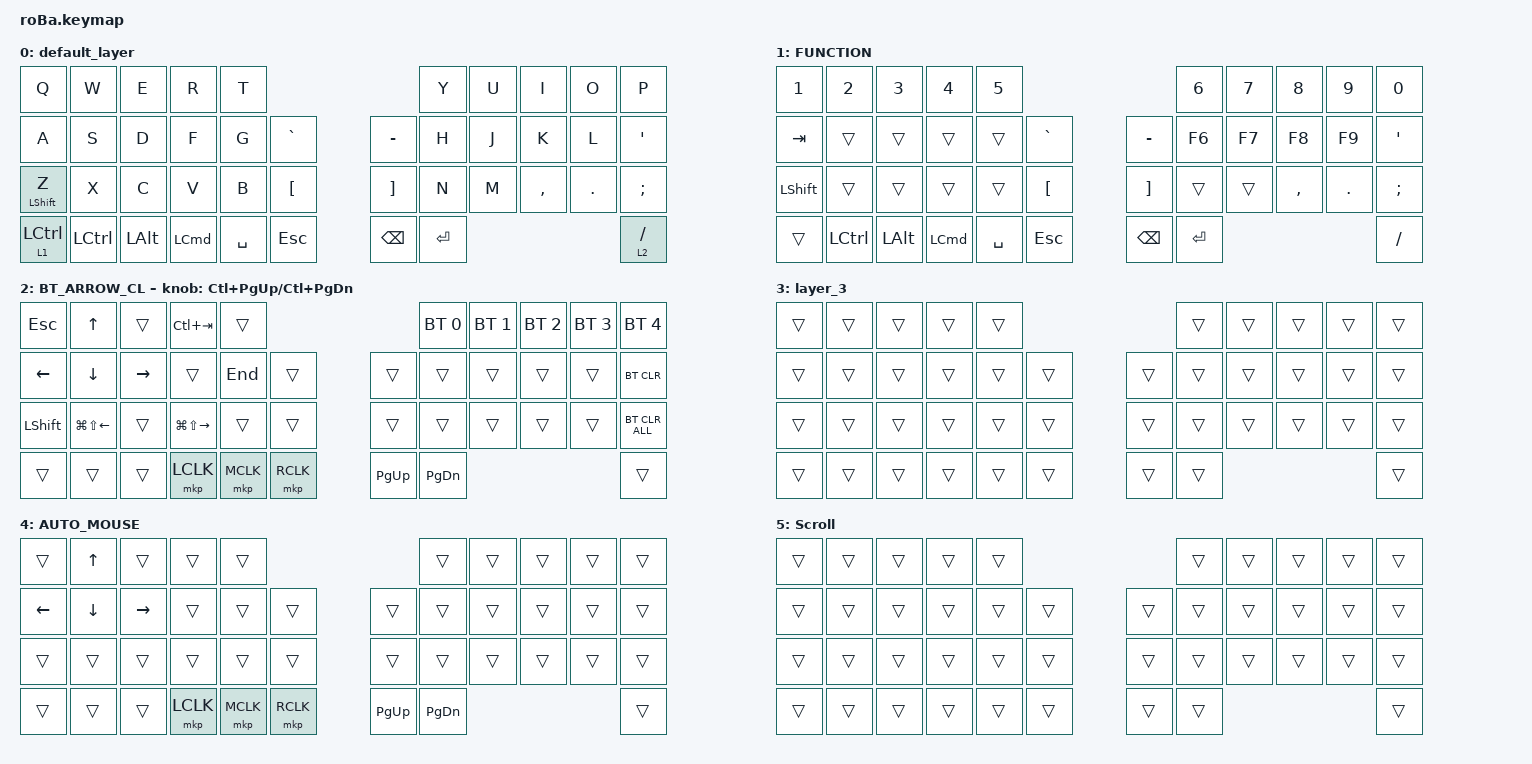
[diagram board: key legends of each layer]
#include <behaviors.dtsi>
#include <dt-bindings/zmk/bt.h>
#include <dt-bindings/zmk/keys.h>
#include <dt-bindings/zmk/pointing.h>

&mt {
    flavor = "balanced";
    quick-tap-ms = <0>;
};

/ {
    combos {
        compatible = "zmk,combos";

        tab {
            bindings = <&kp TAB>;
            key-positions = <10 11>;
        };

        shift_tab {
            bindings = <&kp LS(TAB)>;
            key-positions = <12 11>;
        };

        escape {
            bindings = <&kp LG(ESC)>;
            key-positions = <0 1>;
        };

        eq {
            bindings = <&kp EQUAL>;
            key-positions = <24 25>;
        };

        LeftClick {
            bindings = <&mkp LCLK>;
            key-positions = <38 39>;
        };

        RightClick {
            bindings = <&mkp RCLK>;
            key-positions = <40 41>;
        };
    };

    macros {
        to_layer_0: to_layer_0 {
            compatible = "zmk,behavior-macro-one-param";
            #binding-cells = <1>;
            bindings = <&to 0 &macro_param_1to1 &kp MACRO_PLACEHOLDER>;
            label = "TO_LAYER_0";
        };
    };

    behaviors {
        lt_to_layer_0: lt_to_layer_0 {
            compatible = "zmk,behavior-hold-tap";
            label = "LAYER_TAP_TO_0";
            bindings = <&mo>, <&to_layer_0>;

            #binding-cells = <2>;
            tapping-term-ms = <200>;
        };
    };

    keymap {
        compatible = "zmk,keymap";

        default_layer {
            bindings = <
&kp Q                   &kp W      &kp E         &kp R     &kp T                                               &kp Y      &kp U  &kp I      &kp O    &kp P
&kp A                   &kp S      &kp D         &kp F     &kp G      &kp GRAVE             &kp MINUS          &kp H      &kp J  &kp K      &kp L    &kp SQT
&mt LEFT_SHIFT Z        &kp X      &kp C         &kp V     &kp B      &kp LEFT_BRACKET      &kp RIGHT_BRACKET  &kp N      &kp M  &kp COMMA  &kp DOT  &kp SEMICOLON
&lt_to_layer_0 1 LCTRL  &kp LCTRL  &kp LEFT_ALT  &kp LCMD  &kp SPACE  &kp ESC               &kp BACKSPACE      &kp ENTER                             &lt 2 SLASH
            >;
        };

        FUNCTION {
            bindings = <
&kp N1          &kp N2     &kp N3        &kp N4    &kp N5                                   &kp N6      &kp N7  &kp N8     &kp N9      &kp N0
&kp TAB         &trans     &trans        &trans    &trans     &kp GRAVE      &kp MINUS      &kp F6      &kp F7  &kp F8     &kp F9      &kp SINGLE_QUOTE
&kp LEFT_SHIFT  &trans     &trans        &trans    &trans     &kp LBKT       &kp RBKT       &trans      &trans  &kp COMMA  &kp PERIOD  &kp SEMICOLON
&trans          &kp LCTRL  &kp LEFT_ALT  &kp LCMD  &kp SPACE  &kp ESC        &kp BACKSPACE  &kp RETURN                                 &kp SLASH
            >;
        };

        BT_ARROW_CL {
            bindings = <
&kp ESCAPE      &kp UP_ARROW            &trans           &kp LC(TAB)              &trans                               &bt BT_SEL 0  &bt BT_SEL 1  &bt BT_SEL 2  &bt BT_SEL 3  &bt BT_SEL 4
&kp LEFT_ARROW  &kp DOWN_ARROW          &kp RIGHT_ARROW  &trans                   &kp END    &trans         &trans     &trans        &trans        &trans        &trans        &bt BT_CLR
&kp LEFT_SHIFT  &kp LG(LS(LEFT_ARROW))  &trans           &kp LG(LS(RIGHT_ARROW))  &trans     &trans         &trans     &trans        &trans        &trans        &trans        &bt BT_CLR_ALL
&trans          &trans                  &trans           &mkp LCLK                &mkp MCLK  &mkp RCLK      &kp PG_UP  &kp PG_DN                                               &trans
            >;

            sensor-bindings = <&inc_dec_kp LC(PAGE_UP) LC(PAGE_DOWN)>;
        };

        layer_3 {
            bindings = <
&trans  &trans  &trans  &trans  &trans                      &trans  &trans  &trans  &trans  &trans
&trans  &trans  &trans  &trans  &trans  &trans      &trans  &trans  &trans  &trans  &trans  &trans
&trans  &trans  &trans  &trans  &trans  &trans      &trans  &trans  &trans  &trans  &trans  &trans
&trans  &trans  &trans  &trans  &trans  &trans      &trans  &trans                          &trans
            >;
        };

        AUTO_MOUSE {
            bindings = <
&trans          &kp UP_ARROW    &trans           &trans     &trans                               &trans     &trans  &trans  &trans  &trans
&kp LEFT_ARROW  &kp DOWN_ARROW  &kp RIGHT_ARROW  &trans     &trans     &trans         &trans     &trans     &trans  &trans  &trans  &trans
&trans          &trans          &trans           &trans     &trans     &trans         &trans     &trans     &trans  &trans  &trans  &trans
&trans          &trans          &trans           &mkp LCLK  &mkp MCLK  &mkp RCLK      &kp PG_UP  &kp PG_DN                          &trans
            >;
        };

        Scroll {
            bindings = <
&trans  &trans  &trans  &trans  &trans                      &trans  &trans  &trans  &trans  &trans
&trans  &trans  &trans  &trans  &trans  &trans      &trans  &trans  &trans  &trans  &trans  &trans
&trans  &trans  &trans  &trans  &trans  &trans      &trans  &trans  &trans  &trans  &trans  &trans
&trans  &trans  &trans  &trans  &trans  &trans      &trans  &trans                          &trans
            >;
        };
    };
};
